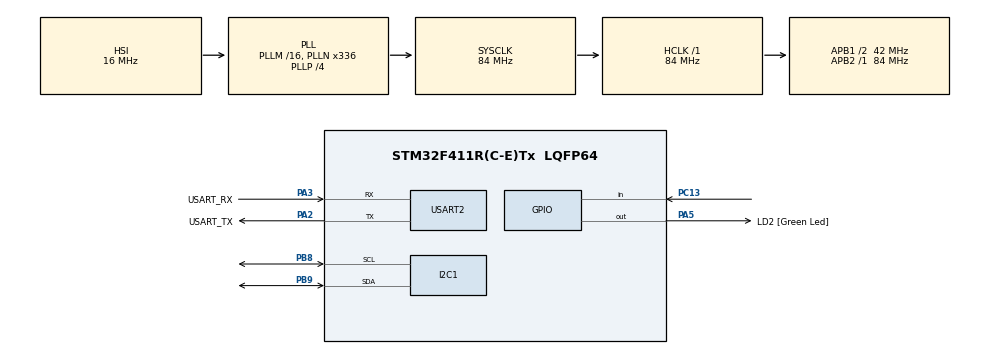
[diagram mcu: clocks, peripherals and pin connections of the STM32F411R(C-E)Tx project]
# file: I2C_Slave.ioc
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I2C1.GeneralCallMode=I2C_GENERALCALL_DISABLE
I2C1.OwnAddress=1
Mcu.Family=STM32F4
Mcu.Name=STM32F411R(C-E)Tx
Mcu.Package=LQFP64
NVIC.I2C1_EV_IRQn=true\:0\:0\:false\:false\:true\:true\:true
NVIC.PriorityGroup=NVIC_PRIORITYGROUP_0
PA13.GPIO_Label=TMS
PA13.Mode=Serial_Wire
PA13.Signal=SYS_JTMS-SWDIO
PA14.GPIO_Label=TCK
PA14.Mode=Serial_Wire
PA14.Signal=SYS_JTCK-SWCLK
PA2.GPIO_Label=USART_TX
PA2.Mode=Asynchronous
PA2.Signal=USART2_TX
PA3.GPIO_Label=USART_RX
PA3.Mode=Asynchronous
PA3.Signal=USART2_RX
PA5.GPIO_Label=LD2 [Green Led]
PA5.Signal=GPIO_Output
PB3.GPIO_Label=SWO
PB3.Signal=SYS_JTDO-SWO
PB8.Mode=I2C
PB8.Signal=I2C1_SCL
PB9.Mode=I2C
PB9.Signal=I2C1_SDA
PC13-ANTI_TAMP.Signal=GPIO_Input
PC14-OSC32_IN.Mode=LSE-External-Oscillator
PC14-OSC32_IN.Signal=RCC_OSC32_IN
PC15-OSC32_OUT.Mode=LSE-External-Oscillator
PC15-OSC32_OUT.Signal=RCC_OSC32_OUT
PH0\ -\ OSC_IN.Mode=HSE-External-Clock-Source
PH0\ -\ OSC_IN.Signal=RCC_OSC_IN
PH1\ -\ OSC_OUT.Mode=HSE-External-Clock-Source
PH1\ -\ OSC_OUT.Signal=RCC_OSC_OUT
ProjectManager.HeapSize=0x200
ProjectManager.StackSize=0x400
ProjectManager.TargetToolchain=STM32CubeIDE
RCC.48MHZClocksFreq_Value=84000000
RCC.AHBFreq_Value=84000000
RCC.APB1CLKDivider=RCC_HCLK_DIV2
RCC.APB1Freq_Value=42000000
RCC.APB1TimFreq_Value=84000000
RCC.APB2Freq_Value=84000000
RCC.APB2TimFreq_Value=84000000
RCC.CortexFreq_Value=84000000
RCC.FLatency-AdvancedSettings=FLASH_LATENCY_2
RCC.HCLKFreq_Value=84000000
RCC.HSE_VALUE=8000000
RCC.HSI_VALUE=16000000
RCC.PLLN=336
RCC.PLLP=RCC_PLLP_DIV4
RCC.SYSCLKFreq_VALUE=84000000
RCC.SYSCLKSource=RCC_SYSCLKSOURCE_PLLCLK
RCC.VCOOutputFreq_Value=336000000
USART2.VirtualMode=VM_ASYNC
board=NUCLEO-F411RE

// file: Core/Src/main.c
/* USER CODE BEGIN Header */
/**
  ******************************************************************************
  * @file           : main.c
  * @brief          : Main program body
  ******************************************************************************
  * @attention
  *
  * Copyright (c) 2022 STMicroelectronics.
  * All rights reserved.
  *
  * This software is licensed under terms that can be found in the LICENSE file
  * in the root directory of this software component.
  * If no LICENSE file comes with this software, it is provided AS-IS.
  *
  ******************************************************************************
  */
/* USER CODE END Header */
#include "main.h"

I2C_HandleTypeDef hi2c1;

UART_HandleTypeDef huart2;

void SystemClock_Config(void);
static void MX_GPIO_Init(void);
static void MX_USART2_UART_Init(void);
static void MX_I2C1_Init(void);

/* USER CODE BEGIN 0 */
char c[7];

/* USER CODE END 0 */

int main(void)
{

  /* MCU Configuration--------------------------------------------------------*/

  /* Reset of all peripherals, Initializes the Flash interface and the Systick. */
  HAL_Init();

  /* Configure the system clock */
  SystemClock_Config();

  /* Initialize all configured peripherals */
  MX_GPIO_Init();
  MX_USART2_UART_Init();
  MX_I2C1_Init();

  /* Infinite loop */
  while (1)
  {

    /* USER CODE BEGIN 3 */
	if(HAL_GPIO_ReadPin(GPIOC, 1<<13)==1) // no button pressed
	{
		HAL_GPIO_TogglePin(GPIOA, 1<<5);
		c[0]='1';
		c[1]='1';
		c[2]='1';
		c[3]='1';
		c[4]='1';
		c[5]='1';
		c[6]='1';
	}
	else ///button pressed
	{
		c[0]='0';
		c[1]='0';
		c[2]='0';
		c[3]='0';
		c[4]='0';
		c[5]='0';
		c[6]='0';
	}

	HAL_I2C_Slave_Transmit(&hi2c1,c,sizeof(c),1000);
	HAL_Delay(1000);
  }
  /* USER CODE END 3 */
}

void SystemClock_Config(void)
{
  RCC_OscInitTypeDef RCC_OscInitStruct = {0};
  RCC_ClkInitTypeDef RCC_ClkInitStruct = {0};

  /** Configure the main internal regulator output voltage
  */
  __HAL_RCC_PWR_CLK_ENABLE();
  __HAL_PWR_VOLTAGESCALING_CONFIG(PWR_REGULATOR_VOLTAGE_SCALE1);
  /** Initializes the RCC Oscillators according to the specified parameters
  * in the RCC_OscInitTypeDef structure.
  */
  RCC_OscInitStruct.OscillatorType = RCC_OSCILLATORTYPE_HSI;
  RCC_OscInitStruct.HSIState = RCC_HSI_ON;
  RCC_OscInitStruct.HSICalibrationValue = RCC_HSICALIBRATION_DEFAULT;
  RCC_OscInitStruct.PLL.PLLState = RCC_PLL_ON;
  RCC_OscInitStruct.PLL.PLLSource = RCC_PLLSOURCE_HSI;
  RCC_OscInitStruct.PLL.PLLM = 16;
  RCC_OscInitStruct.PLL.PLLN = 336;
  RCC_OscInitStruct.PLL.PLLP = RCC_PLLP_DIV4;
  RCC_OscInitStruct.PLL.PLLQ = 4;
  if (HAL_RCC_OscConfig(&RCC_OscInitStruct) != HAL_OK)
  {
    Error_Handler();
  }
  /** Initializes the CPU, AHB and APB buses clocks
  */
  RCC_ClkInitStruct.ClockType = RCC_CLOCKTYPE_HCLK|RCC_CLOCKTYPE_SYSCLK
                              |RCC_CLOCKTYPE_PCLK1|RCC_CLOCKTYPE_PCLK2;
  RCC_ClkInitStruct.SYSCLKSource = RCC_SYSCLKSOURCE_PLLCLK;
  RCC_ClkInitStruct.AHBCLKDivider = RCC_SYSCLK_DIV1;
  RCC_ClkInitStruct.APB1CLKDivider = RCC_HCLK_DIV2;
  RCC_ClkInitStruct.APB2CLKDivider = RCC_HCLK_DIV1;

  if (HAL_RCC_ClockConfig(&RCC_ClkInitStruct, FLASH_LATENCY_2) != HAL_OK)
  {
    Error_Handler();
  }
}

static void MX_I2C1_Init(void)
{

  hi2c1.Instance = I2C1;
  hi2c1.Init.ClockSpeed = 100000;
  hi2c1.Init.DutyCycle = I2C_DUTYCYCLE_2;
  hi2c1.Init.OwnAddress1 = 2;
  hi2c1.Init.AddressingMode = I2C_ADDRESSINGMODE_7BIT;
  hi2c1.Init.DualAddressMode = I2C_DUALADDRESS_DISABLE;
  hi2c1.Init.OwnAddress2 = 0;
  hi2c1.Init.GeneralCallMode = I2C_GENERALCALL_DISABLE;
  hi2c1.Init.NoStretchMode = I2C_NOSTRETCH_DISABLE;
  if (HAL_I2C_Init(&hi2c1) != HAL_OK)
  {
    Error_Handler();
  }

}

static void MX_USART2_UART_Init(void)
{

  huart2.Instance = USART2;
  huart2.Init.BaudRate = 115200;
  huart2.Init.WordLength = UART_WORDLENGTH_8B;
  huart2.Init.StopBits = UART_STOPBITS_1;
  huart2.Init.Parity = UART_PARITY_NONE;
  huart2.Init.Mode = UART_MODE_TX_RX;
  huart2.Init.HwFlowCtl = UART_HWCONTROL_NONE;
  huart2.Init.OverSampling = UART_OVERSAMPLING_16;
  if (HAL_UART_Init(&huart2) != HAL_OK)
  {
    Error_Handler();
  }

}

static void MX_GPIO_Init(void)
{
  GPIO_InitTypeDef GPIO_InitStruct = {0};

  /* GPIO Ports Clock Enable */
  __HAL_RCC_GPIOC_CLK_ENABLE();
  __HAL_RCC_GPIOH_CLK_ENABLE();
  __HAL_RCC_GPIOA_CLK_ENABLE();
  __HAL_RCC_GPIOB_CLK_ENABLE();

  /*Configure GPIO pin Output Level */
  HAL_GPIO_WritePin(LD2_GPIO_Port, LD2_Pin, GPIO_PIN_RESET);

  /*Configure GPIO pin : PC13 */
  GPIO_InitStruct.Pin = GPIO_PIN_13;
  GPIO_InitStruct.Mode = GPIO_MODE_INPUT;
  GPIO_InitStruct.Pull = GPIO_NOPULL;
  HAL_GPIO_Init(GPIOC, &GPIO_InitStruct);

  /*Configure GPIO pin : LD2_Pin */
  GPIO_InitStruct.Pin = LD2_Pin;
  GPIO_InitStruct.Mode = GPIO_MODE_OUTPUT_PP;
  GPIO_InitStruct.Pull = GPIO_NOPULL;
  GPIO_InitStruct.Speed = GPIO_SPEED_FREQ_LOW;
  HAL_GPIO_Init(LD2_GPIO_Port, &GPIO_InitStruct);

}

void Error_Handler(void)
{
  __disable_irq();
  while (1)
  {
  }
}
